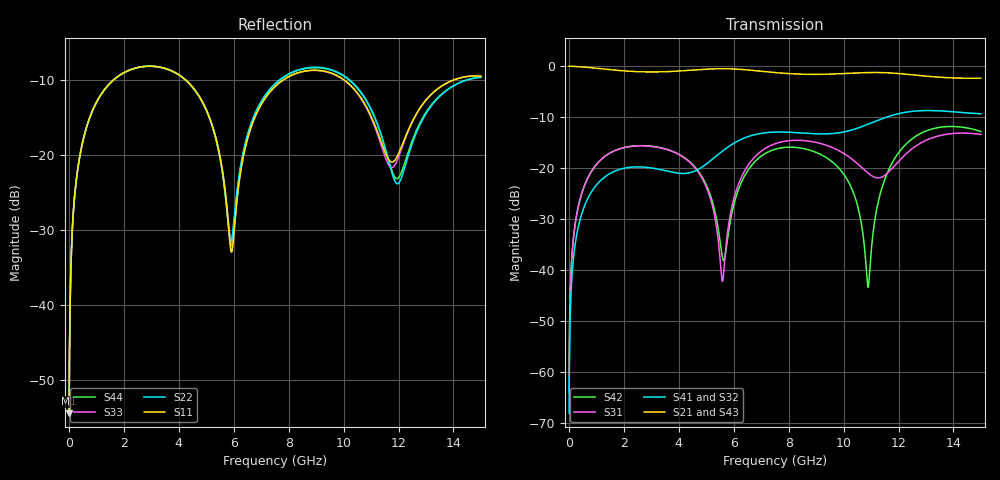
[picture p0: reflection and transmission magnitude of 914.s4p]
! Created with skrf 1.8.0 (http://scikit-rf.org).
# GHz S RI R 50.0
!freq ReS11 ImS11 ReS12 ImS12 ReS13 ImS13
! ReS14 ImS14
! ReS21 ImS21 ReS22 ImS22 ReS23 ImS23
! ReS24 ImS24
! ReS31 ImS31 ReS32 ImS32 ReS33 ImS33
! ReS34 ImS34
! ReS41 ImS41 ReS42 ImS42 ReS43 ImS43
! ReS44 ImS44
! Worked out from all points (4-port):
!   2499 points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, 5 MHz to 15 GHz, reference 50 ohm
!   strongest paths, dB at 5 MHz, 3.476 GHz, 7.19 GHz, 11.1 GHz, 15 GHz:
!     S21: 0.0, -1.1, -1.1, -1.3, -2.4
!     S43: 0.0, -1.1, -1.1, -1.2, -2.4
!     S41: -68.0, -20.5, -13.0, -10.9, -9.3
!     S32: -68.0, -20.5, -13.1, -10.9, -9.4
!     S31: -64.0, -16.2, -16.0, -21.7, -13.4
!     S42: -64.0, -16.2, -17.0, -31.6, -12.8
!   lowest |S11| = -54.4 dB at 5 MHz (marker M1), VSWR 1.00, Z = 50.2 + j0.115 ohm
!   |S11| at or under -10 dB: start of sweep to 1.627 GHz; 4.241 GHz to 7.809 GHz (3.569 GHz wide, 59.2 % of centre); 10.02 GHz to 14.02 GHz (4.008 GHz wide, 33.3 % of centre)
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0.005  0.00152 0.00115  0.9985 -0.00295  7.67e-05 0.000629  -7.44e-05 -0.00039
       0.9985 -0.00295  0.00152 0.00115  -7.44e-05 -0.00039  7.68e-05 0.000629
       7.67e-05 0.000629  -7.44e-05 -0.00039  0.00152 0.00115  0.9985 -0.00295
       -7.44e-05 -0.00039  7.68e-05 0.000629  0.9985 -0.00295  0.00152 0.00115
0.3126303  0.0211 0.0761  0.9712 -0.1843  0.00992 0.0376  -0.00824 -0.0232
           0.9712 -0.1843  0.0211 0.0761  -0.00824 -0.0232  0.00995 0.0376
           0.00992 0.0376  -0.00824 -0.0232  0.0211 0.0761  0.9712 -0.1843
           -0.00824 -0.0232  0.00995 0.0376  0.9712 -0.1843  0.0211 0.0761
1.519383  0.2394 0.186  0.6118 -0.6896  0.1216 0.0733  -0.0879 -0.0164
          0.6118 -0.6896  0.2392 0.1861  -0.0879 -0.0165  0.1221 0.0727
          0.1216 0.0733  -0.0879 -0.0165  0.2394 0.186  0.6118 -0.6896
          -0.0879 -0.0164  0.1221 0.0727  0.6118 -0.6896  0.2392 0.1861
5.589829  0.0343 -0.0698  -0.9118 -0.2403  0.00777 -0.000402  -0.0326 0.1435
          -0.9118 -0.2403  0.0372 -0.0658  -0.033 0.1434  -0.0122 -0.00531
          0.00777 -0.000402  -0.033 0.1434  0.0361 -0.0701  -0.9117 -0.2404
          -0.0326 0.1435  -0.0122 -0.00531  -0.9117 -0.2404  0.0358 -0.0669
9.247603  0.361 -0.032  0.0284 0.8308  0.1183 -0.1247  0.2067 -0.065
          0.0284 0.8308  0.3764 -0.053  0.206 -0.0628  0.1191 -0.0587
          0.1183 -0.1247  0.206 -0.0628  0.3592 -0.0378  0.029 0.8315
          0.2067 -0.065  0.1191 -0.0587  0.029 0.8315  0.3746 -0.0476
10.89204  0.156 -0.1238  0.664 0.5539  -0.0662 -0.0602  0.1658 -0.2125
          0.664 0.5539  0.1508 -0.161  0.1685 -0.2102  -0.00647 -0.00212
          -0.0662 -0.0602  0.1685 -0.2102  0.1487 -0.1265  0.6655 0.5531
          0.1658 -0.2125  -0.00647 -0.00212  0.6655 0.5531  0.1538 -0.1548
15  0.3311 -0.0442  0.1393 -0.7491  0.1843 -0.1088  -0.3401 0.0257
    0.1393 -0.7491  0.3287 -0.00953  -0.3399 0.0226  0.2067 -0.0978
    0.1843 -0.1088  -0.3399 0.0226  0.3305 -0.0435  0.1378 -0.7496
    -0.3401 0.0257  0.2067 -0.0978  0.1378 -0.7496  0.3276 -0.0111
